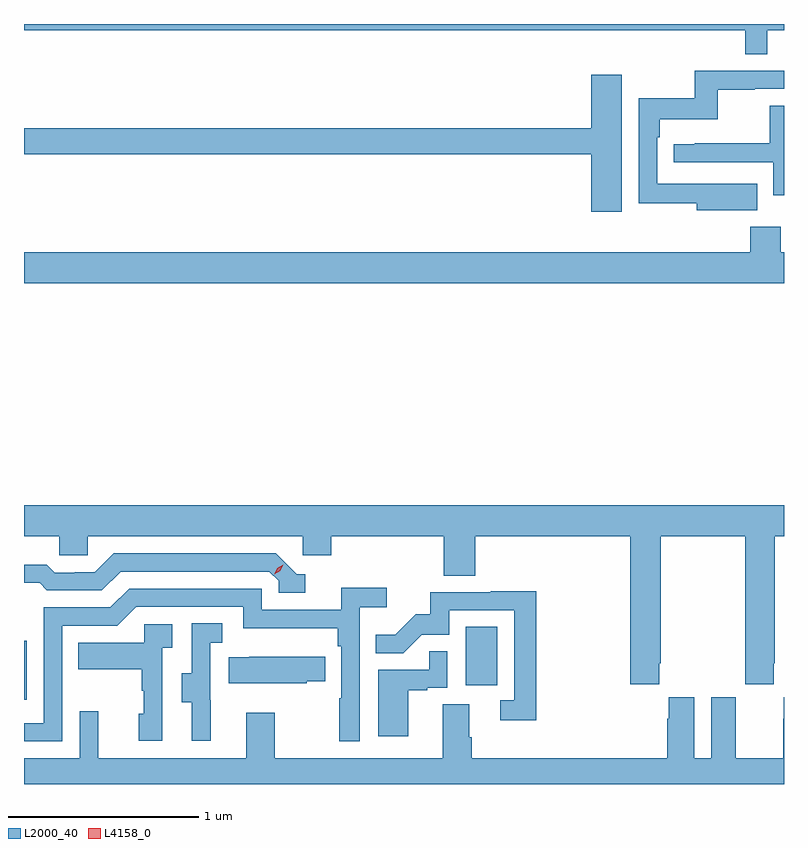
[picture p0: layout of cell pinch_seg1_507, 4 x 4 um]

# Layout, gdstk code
import gdstk
lib = gdstk.Library(unit=1e-6, precision=1e-09)
def R(c, l, rs):  # rectangles x0, y0, x1, y1
    for r in rs: c.add(gdstk.rectangle(r[:2], r[2:], *l))
def P(c, l, *ps):  # polygons
    for p in ps: c.add(gdstk.Polygon(p, *l))
L2000_40 = (2000, 40)
L4158_0 = (4158, 0)

pinch_seg1_507 = lib.new_cell('pinch_seg1_507')
R(pinch_seg1_507, L2000_40, [(1023.286,534.888,1023.3,535.198), (1025.612,534.966,1025.776,535.273)])
P(pinch_seg1_507, L2000_40, [(1027.197,538.412),(1027.286,538.412),(1027.286,538.445),(1023.286,538.445),(1023.286,538.412),(1027.081,538.412),(1027.081,538.285),(1027.197,538.285)],
  [(1027.145,537.604),(1026.931,537.604),(1026.931,537.603),(1026.618,537.603),(1026.618,537.848),(1026.632,537.848),(1026.632,537.944),(1026.937,537.944),(1026.937,538.099),(1027.133,538.099),(1027.133,538.104),(1027.286,538.104),(1027.286,538.2),(1026.816,538.2),(1026.816,538.054),(1026.522,538.054),(1026.522,537.502),(1026.827,537.502),(1026.827,537.464),(1027.145,537.464)],
  [(1026.433,538.177),(1026.272,538.177),(1026.272,537.896),(1023.286,537.896),(1023.286,537.76),(1026.272,537.76),(1026.272,537.456),(1026.433,537.456)],
  [(1027.286,538.014),(1027.21,538.014),(1027.21,537.818),(1026.817,537.818),(1026.817,537.813),(1026.705,537.813),(1026.705,537.717),(1027.23,537.717),(1027.23,537.545),(1027.286,537.545)],
  [(1027.286,537.244),(1027.269,537.244),(1027.269,537.379),(1027.109,537.379),(1027.109,537.244),(1023.286,537.244),(1023.286,537.08),(1027.286,537.08)],
  [(1026.629,535.081),(1026.636,535.081),(1026.636,535.748),(1027.081,535.748),(1027.081,535.081),(1027.083,535.081),(1027.083,534.969),(1027.233,534.969),(1027.233,535.081),(1027.236,535.081),(1027.236,535.748),(1027.286,535.748),(1027.286,535.912),(1023.286,535.912),(1023.286,535.748),(1023.471,535.748),(1023.471,535.65),(1023.621,535.65),(1023.621,535.748),(1024.752,535.748),(1024.752,535.65),(1024.904,535.65),(1024.904,535.748),(1025.495,535.748),(1025.495,535.54),(1025.66,535.54),(1025.66,535.748),(1026.476,535.748),(1026.476,534.969),(1026.629,534.969)],
  [(1024.765,535.548),(1024.722,535.548),(1024.611,535.659),(1023.758,535.659),(1023.659,535.56),(1023.552,535.56),(1023.552,535.557),(1023.449,535.557),(1023.407,535.6),(1023.286,535.6),(1023.286,535.503),(1023.368,535.503),(1023.407,535.464),(1023.696,535.464),(1023.795,535.563),(1024.578,535.563),(1024.626,535.515),(1024.626,535.452),(1024.765,535.452)],
  [(1023.486,535.278),(1023.777,535.278),(1023.876,535.377),(1024.44,535.377),(1024.44,535.265),(1024.936,535.265),(1024.936,535.169),(1024.956,535.169),(1024.956,534.896),(1024.944,534.896),(1024.944,534.669),(1025.052,534.669),(1025.052,535.376),(1025.194,535.376),(1025.194,535.478),(1024.955,535.478),(1024.955,535.362),(1024.536,535.362),(1024.536,535.473),(1023.839,535.473),(1023.74,535.374),(1023.39,535.374),(1023.39,534.765),(1023.286,534.765),(1023.286,534.669),(1023.486,534.669)],
  [(1025.981,535.46),(1025.743,535.46),(1025.743,535.455),(1025.425,535.455),(1025.425,535.338),(1025.348,535.338),(1025.241,535.231),(1025.137,535.231),(1025.137,535.132),(1025.281,535.132),(1025.379,535.23),(1025.523,535.23),(1025.523,535.359),(1025.865,535.359),(1025.865,534.885),(1025.793,534.885),(1025.793,534.78),(1025.981,534.78)],
  [(1024.268,534.885),(1024.266,534.885),(1024.266,535.189),(1024.33,535.189),(1024.33,535.292),(1024.17,535.292),(1024.17,535.029),(1024.115,535.029),(1024.115,534.874),(1024.169,534.874),(1024.169,534.672),(1024.268,534.672)],
  [(1024.014,535.163),(1024.066,535.163),(1024.066,535.287),(1023.918,535.287),(1023.918,535.189),(1023.571,535.189),(1023.571,535.049),(1023.906,535.049),(1023.906,534.935),(1023.916,534.935),(1023.916,534.816),(1023.89,534.816),(1023.89,534.672),(1024.014,534.672)],
  [(1025.308,534.939),(1025.408,534.939),(1025.408,534.951),(1025.514,534.951),(1025.514,535.145),(1025.419,535.145),(1025.419,535.047),(1025.15,535.047),(1025.15,534.696),(1025.308,534.696)],
  [(1024.773,534.985),(1024.871,534.985),(1024.871,535.114),(1024.471,535.114),(1024.471,535.111),(1024.363,535.111),(1024.363,534.974),(1024.773,534.974)],
  [(1027.286,534.901),(1027.284,534.901),(1027.284,534.788),(1027.283,534.788),(1027.283,534.58),(1027.033,534.58),(1027.033,534.788),(1027.032,534.788),(1027.032,534.901),(1026.902,534.901),(1026.902,534.58),(1026.814,534.58),(1026.814,534.901),(1026.68,534.901),(1026.68,534.788),(1026.671,534.788),(1026.671,534.58),(1025.642,534.58),(1025.642,534.692),(1025.629,534.692),(1025.629,534.866),(1025.489,534.866),(1025.489,534.58),(1024.605,534.58),(1024.605,534.82),(1024.457,534.82),(1024.457,534.58),(1023.677,534.58),(1023.677,534.829),(1023.579,534.829),(1023.579,534.58),(1023.286,534.58),(1023.286,534.445),(1027.286,534.445)])
P(pinch_seg1_507, L4158_0, [(1024.603,535.548),(1024.603,535.548),(1024.62,535.58),(1024.65,535.6),(1024.651,535.6),(1024.651,535.599),(1024.634,535.567),(1024.604,535.548)])

lib.write_gds('pinch_seg1_507.gds')
